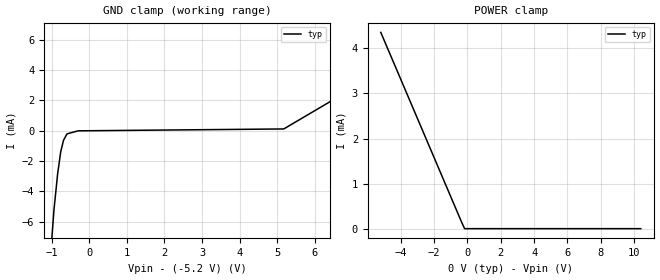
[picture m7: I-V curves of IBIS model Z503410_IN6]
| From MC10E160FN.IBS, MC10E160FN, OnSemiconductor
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| (C) COPYRIGHT 1993-2000
| MENTOR GRAPHICS CORPORATION
| ICX STANDARD LIBRARY, ICX PROJECT MODELING,
| ICX CUSTOM MODELING, ICX VENDOR MODEL
| ALL RIGHTS RESERVED.
| THE FOLLOWING ARE TRADEMARKS OR SERVICE MARKS OF
| MENTOR GRAPHICS CORPORATION:ICX (R), ICX STANDARD
| LIBRARY(R), ICX PROJECT MODELING(R), ICX CUSTOM
| MODELING(R), qualityIBIS(TM), MODELVIEWER(TM),
| AND MODELEDITOR(TM)
| ALL COPIES OF SOFTWARE, INCLUDING BUT NOT LIMITED TO
| ANY MODIFICATIONS, ENHANCEMENTS OR DERIVATIVE WORKS,
| MUST CONTAIN ALL MENTOR GRAPHICS CORPORATION'S
| NOTICES AND LEGENDS, INCLUDING THOSE EMBEDDED IN
| SOFTWARE AND THOSE AFFIXED TO SOFTWARE MEDIUM
| AND CONTAINER, AS RECEIVED FROM MENTOR GRAPHICS
| CORPORATION.
| Model Application Version 1.89 2/18/99.
[Model] Z503410_IN6
Model_type Input_ECL
Vinl = -1.480V
Vinh = -1.130V
C_comp 4.000pF NA NA
| variable typ   min   max
[Voltage Range] -5.200V NA NA
[GND Clamp Reference] -5.200V NA NA
[POWER Clamp Reference] 0.000V NA NA
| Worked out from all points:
|   GND clamp passes 1 mA (typ) near -0.72 V on its own axis
[GND Clamp]
-5.2V     -200mA     NA         NA
-1.1V     -10.71mA   NA         NA
-937mV    -5.263mA   NA         NA
-840mV    -2.896mA   NA         NA
-757mV    -1.411mA   NA         NA
-683mV    -649.2uA   NA         NA
-589mV    -219.7uA   NA         NA
-294.5mV  -20.15uA   NA         NA
5.171V    103.8uA    NA         NA
10.4V     7.745mA    NA         NA
[POWER Clamp]
-5.2V     4.354mA    NA         NA
-342.7mV  138.7uA    NA         NA
-171.4mV  0A         NA         NA
10.4V     0A         NA         NA
